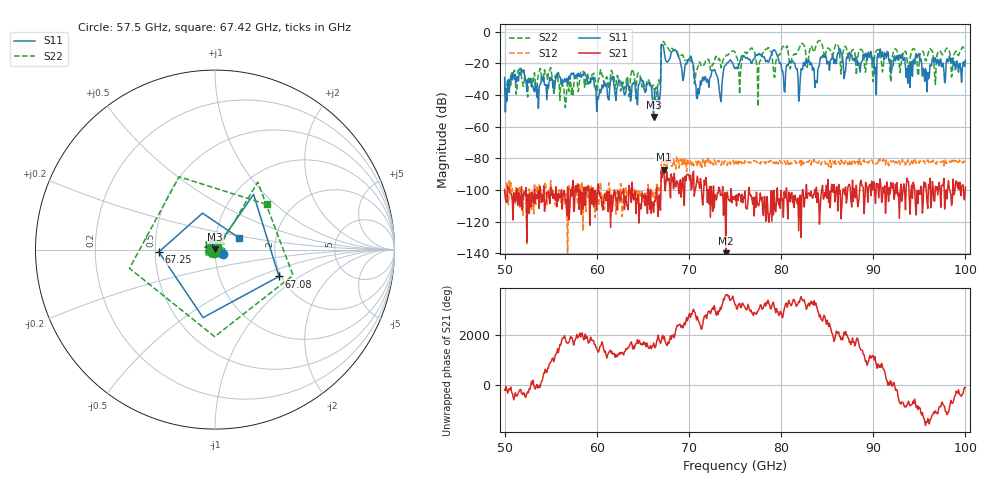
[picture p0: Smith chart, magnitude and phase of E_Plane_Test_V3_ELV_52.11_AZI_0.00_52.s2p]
! 11/26/2026 4:34:27 PM
! C:\ANRITSUVNA\TEMP\TEMP.S2P
! CHANNEL.1
! TR.MEASUREMENT
! RAW.DATA
# HZ S RI R 50.0
! FREQ.HZ  S11RE  S11IM  S21RE  S21IM  S12RE  S12IM  S22RE  S22IM
!; PortSelection: Port_12
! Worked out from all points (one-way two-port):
!   601 points, 50 GHz to 100 GHz, reference 50 ohm
!   highest |S21| = -87.25 dB at 67.25 GHz (marker M1); lowest = -140.0 dB at 74 GHz (marker M2)
!   lowest |S11| = -54.0 dB at 66.17 GHz (marker M3), VSWR 1.00, Z = 50.1 + j0.146 ohm
!   |S11| at or under -10 dB: start of sweep to 67 GHz; 67.25 GHz to end of sweep
!   |S22| runs from -48.1 to -5.6 dB; largest |S21 - S12| = 0.00014
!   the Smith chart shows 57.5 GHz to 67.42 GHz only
!   S11 on the Smith chart (normalised r, x): 57.5 GHz: 1.09, -0.05; 67.08 GHz: 1.95, -0.69; 67.25 GHz: 0.52, -0.02; 67.42 GHz: 1.29, +0.18
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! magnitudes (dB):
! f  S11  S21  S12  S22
! 50 GHz  -29.0  -99.7  -101.0  -35.4
! 57.5 GHz  -26.1  -113.7  -106.4  -34.6
! 58.42 GHz  -27.1  -101.8  -95.2  -24.8
! 60.17 GHz  -42.8  -96.2  -110.3  -30.3
! 66.17 GHz  -54.0  -114.2  -100.7  -34.0
! 66.67 GHz  -41.5  -116.9  -100.4  -31.6
! 67.08 GHz  -8.3  -92.4  -80.9  -6.8
! 67.25 GHz  -10.1  -87.2  -80.0  -6.2
! 67.42 GHz  -16.6  -100.6  -83.8  -8.3
! 70.25 GHz  -15.9  -99.9  -83.9  -18.7
! 70.92 GHz  -42.3  -91.3  -84.9  -23.2
! 72.67 GHz  -24.7  -97.5  -84.4  -20.4
! 73.42 GHz  -42.5  -103.5  -83.0  -19.8
! 74 GHz  -21.2  -140.0  -82.5  -15.4
! 75 GHz  -23.3  -106.4  -84.1  -13.0
! 77.58 GHz  -13.8  -110.1  -82.3  -21.7
! 78.5 GHz  -18.2  -104.2  -82.4  -10.8
! 79.33 GHz  -11.8  -112.4  -83.4  -28.8
! 80.25 GHz  -27.8  -117.3  -82.7  -9.4
! 83.42 GHz  -24.5  -105.3  -81.6  -10.8
! 91.67 GHz  -16.7  -107.3  -84.7  -15.2
! 100 GHz  -18.0  -98.2  -81.7  -12.5
